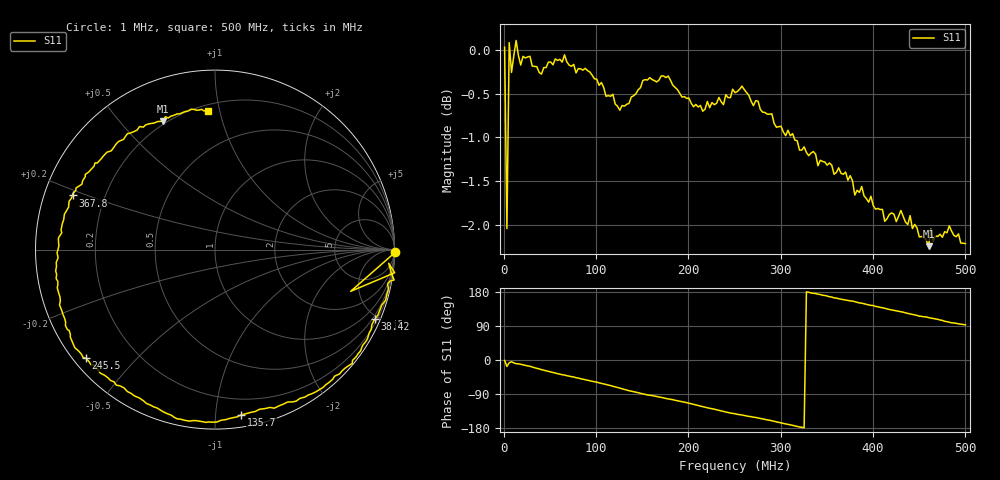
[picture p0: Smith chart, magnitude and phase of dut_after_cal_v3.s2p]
! PocketVna 1.54  pocketvna.com
! Live measurements ((Reflection-S11) Linear 1000000-500000000/201 calibrated)
# MHz S DB R 50
! MHz  dBS11  <S11  dBS21  <S21  dBS12  <S12  dBS22  <S22
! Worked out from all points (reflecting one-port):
!   201 points, 1 MHz to 500 MHz, reference 50 ohm
!   lowest |S11| = -2.2 dB at 460.1 MHz (marker M1), VSWR 7.79, Z = 9.27 + j32.9 ohm
!   phase of S11 starts at -1 deg and turns -266 deg over the sweep
!   S11 on the Smith chart (normalised r, x): 1 MHz: open; 38.42 MHz: 0.36, -4.77; 135.7 MHz: 0.08, -1.17; 245.5 MHz: 0.04, -0.36; 367.8 MHz: 0.08, +0.18; 500 MHz: 0.24, +0.92
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1  0.03 -0.9  -200.00 0.0  -200.00 0.0  -200.00 0.0
3.495  -2.04 -17.1  -200.00 0.0  -200.00 0.0  -200.00 0.0
5.99  0.08 -7.3  -200.00 0.0  -200.00 0.0  -200.00 0.0
8.485  -0.26 -4.5  -200.00 0.0  -200.00 0.0  -200.00 0.0
13.475  0.11 -9.6  -200.00 0.0  -200.00 0.0  -200.00 0.0
38.425  -0.26 -23.6  -200.00 0.0  -200.00 0.0  -200.00 0.0
55.89  -0.10 -34.9  -200.00 0.0  -200.00 0.0  -200.00 0.0
85.83  -0.23 -50.7  -200.00 0.0  -200.00 0.0  -200.00 0.0
115.77  -0.53 -67.5  -200.00 0.0  -200.00 0.0  -200.00 0.0
135.73  -0.61 -81.0  -200.00 0.0  -200.00 0.0  -200.00 0.0
168.165  -0.35 -97.5  -200.00 0.0  -200.00 0.0  -200.00 0.0
200.6  -0.55 -114.0  -200.00 0.0  -200.00 0.0  -200.00 0.0
245.51  -0.55 -140.0  -200.00 0.0  -200.00 0.0  -200.00 0.0
250.5  -0.49 -141.8  -200.00 0.0  -200.00 0.0  -200.00 0.0
290.42  -0.73 -160.4  -200.00 0.0  -200.00 0.0  -200.00 0.0
335.33  -1.16 175.9  -200.00 0.0  -200.00 0.0  -200.00 0.0
367.765  -1.42 159.2  -200.00 0.0  -200.00 0.0  -200.00 0.0
417.665  -1.88 133.3  -200.00 0.0  -200.00 0.0  -200.00 0.0
440.12  -1.89 121.5  -200.00 0.0  -200.00 0.0  -200.00 0.0
460.08  -2.24 112.0  -200.00 0.0  -200.00 0.0  -200.00 0.0
482.535  -2.01 99.7  -200.00 0.0  -200.00 0.0  -200.00 0.0
500  -2.21 92.9  -200.00 0.0  -200.00 0.0  -200.00 0.0
